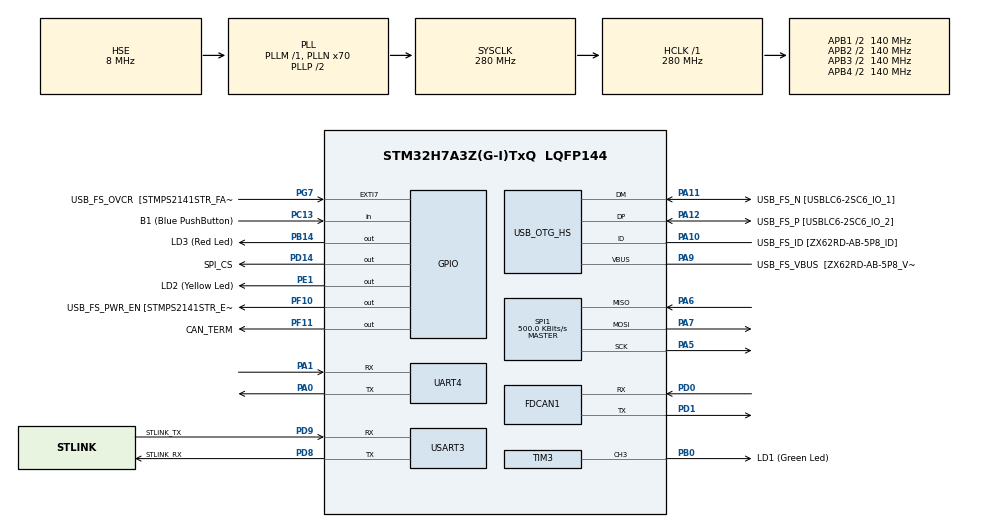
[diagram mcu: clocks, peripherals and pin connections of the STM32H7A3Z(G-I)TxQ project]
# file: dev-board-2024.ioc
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FDCAN1.AutoRetransmission=ENABLE
FDCAN1.CalculateBaudRateNominal=2000000
FDCAN1.CalculateTimeBitNominal=500
FDCAN1.CalculateTimeQuantumNominal=31.25
FDCAN1.DataPrescaler=1
FDCAN1.DataSyncJumpWidth=3
FDCAN1.DataTimeSeg1=13
FDCAN1.DataTimeSeg2=2
FDCAN1.Mode=FDCAN_MODE_NORMAL
FDCAN1.NominalPrescaler=4
FDCAN1.NominalSyncJumpWidth=3
FDCAN1.NominalTimeSeg1=13
FDCAN1.NominalTimeSeg2=2
FDCAN1.RxBufferSize=FDCAN_DATA_BYTES_8
FDCAN1.RxBuffersNbr=32
FDCAN1.RxFifo0ElmtSize=FDCAN_DATA_BYTES_8
FDCAN1.RxFifo0ElmtsNbr=32
FDCAN1.RxFifo1ElmtSize=FDCAN_DATA_BYTES_8
FDCAN1.RxFifo1ElmtsNbr=0
FDCAN1.StdFiltersNbr=1
FDCAN1.TxElmtSize=FDCAN_DATA_BYTES_32
FDCAN1.TxFifoQueueElmtsNbr=1
Mcu.Family=STM32H7
Mcu.Name=STM32H7A3Z(G-I)TxQ
Mcu.Package=LQFP144
NVIC.FDCAN1_IT0_IRQn=true\:0\:0\:false\:false\:true\:true\:true\:true
NVIC.FDCAN1_IT1_IRQn=true\:0\:0\:false\:false\:true\:true\:true\:true
NVIC.PriorityGroup=NVIC_PRIORITYGROUP_4
NVIC.UART4_IRQn=true\:0\:0\:false\:false\:true\:true\:true\:true
PA0.Mode=Asynchronous
PA0.Signal=UART4_TX
PA1.Mode=Asynchronous
PA1.Signal=UART4_RX
PA10.GPIO_Label=USB_FS_ID [ZX62RD-AB-5P8_ID]
PA10.Mode=OTG/Dual-Role-Device-FS
PA10.Signal=USB_OTG_HS_ID
PA11.GPIO_Label=USB_FS_N [USBLC6-2SC6_IO_1]
PA11.Mode=OTG/Dual-Role-Device-FS
PA11.Signal=USB_OTG_HS_DM
PA12.GPIO_Label=USB_FS_P [USBLC6-2SC6_IO_2]
PA12.Mode=OTG/Dual-Role-Device-FS
PA12.Signal=USB_OTG_HS_DP
PA13.Mode=Serial_Wire
PA13.Signal=DEBUG_JTMS-SWDIO
PA14.Mode=Serial_Wire
PA14.Signal=DEBUG_JTCK-SWCLK
PA5.GPIO_PuPd=GPIO_PULLUP
PA5.Mode=Full_Duplex_Master
PA5.Signal=SPI1_SCK
PA6.GPIO_PuPd=GPIO_PULLUP
PA6.Mode=Full_Duplex_Master
PA6.Signal=SPI1_MISO
PA7.GPIO_PuPd=GPIO_PULLUP
PA7.Mode=Full_Duplex_Master
PA7.Signal=SPI1_MOSI
PA9.GPIO_Label=USB_FS_VBUS  [ZX62RD-AB-5P8_VBUS]
PA9.Mode=Activate_VBUS_FS
PA9.Signal=USB_OTG_HS_VBUS
PB0.GPIO_Label=LD1 (Green Led)
PB0.Signal=S_TIM3_CH3
PB14.GPIO_Label=LD3 (Red Led)
PB14.Signal=GPIO_Output
PC13.GPIO_Label=B1 (Blue PushButton)
PC13.Signal=GPIO_Input
PC14-OSC32_IN.GPIO_Label=OSC32_IN
PC14-OSC32_IN.Mode=LSE-External-Oscillator
PC14-OSC32_IN.Signal=RCC_OSC32_IN
PC15-OSC32_OUT.GPIO_Label=OSC32_OUT
PC15-OSC32_OUT.Mode=LSE-External-Oscillator
PC15-OSC32_OUT.Signal=RCC_OSC32_OUT
PD0.Mode=FDCAN_Activate
PD0.Signal=FDCAN1_RX
PD1.Mode=FDCAN_Activate
PD1.Signal=FDCAN1_TX
PD14.GPIO_Label=SPI_CS
PD14.GPIO_Speed=GPIO_SPEED_FREQ_VERY_HIGH
PD14.PinState=GPIO_PIN_SET
PD14.Signal=GPIO_Output
PD8.GPIO_Label=STLINK_RX
PD8.Mode=Asynchronous
PD8.Signal=USART3_TX
PD9.GPIO_Label=STLINK_TX
PD9.Mode=Asynchronous
PD9.Signal=USART3_RX
PE1.GPIO_Label=LD2 (Yellow Led)
PE1.Signal=GPIO_Output
PF10.GPIO_Label=USB_FS_PWR_EN [STMPS2141STR_EN]
PF10.Signal=GPIO_Output
PF11.GPIO_Label=CAN_TERM
PF11.Signal=GPIO_Output
PG7.GPIO_Label=USB_FS_OVCR  [STMPS2141STR_FAULT]
PG7.Signal=GPXTI7
PH0-OSC_IN.GPIO_Label=PH0-MCU
PH0-OSC_IN.Mode=HSE-External-Clock-Source
PH0-OSC_IN.Signal=RCC_OSC_IN
ProjectManager.HeapSize=0x200
ProjectManager.StackSize=0x400
ProjectManager.TargetToolchain=STM32CubeIDE
RCC.ADCFreq_Value=2000000
RCC.APB1Freq_Value=140000000
RCC.APB2Freq_Value=140000000
RCC.APB3Freq_Value=140000000
RCC.APB4Freq_Value=140000000
RCC.CDPPRE=RCC_APB3_DIV2
RCC.CDPPRE1=RCC_APB1_DIV2
RCC.CDPPRE2=RCC_APB2_DIV2
RCC.CortexFreq_Value=280000000
RCC.DIVM1=1
RCC.DIVM2=1
RCC.DIVM3=1
RCC.DIVN1=70
RCC.DIVN2=16
RCC.DIVN3=24
RCC.DIVP2=64
RCC.DIVQ2=1
RCC.FDCANCLockSelection=RCC_FDCANCLKSOURCE_PLL2
RCC.HCLKFreq_Value=280000000
RCC.HSE_VALUE=8000000
RCC.PLL2FRACN=0
RCC.PLLFRACN=0
RCC.PLLSourceVirtual=RCC_PLLSOURCE_HSE
RCC.SPI123CLockSelection=RCC_SPI123CLKSOURCE_PLL2
RCC.SRDPPRE=RCC_APB4_DIV2
RCC.SYSCLKFreq_VALUE=280000000
RCC.SYSCLKSource=RCC_SYSCLKSOURCE_PLLCLK
RCC.SupplySource=PWR_DIRECT_SMPS_SUPPLY
RCC.USBCLockSelection=RCC_USBCLKSOURCE_HSI48
RCC.USBFreq_Value=48000000
SH.S_TIM3_CH3.0=TIM3_CH3,PWM Generation3 CH3
SPI1.BaudRatePrescaler=SPI_BAUDRATEPRESCALER_4
SPI1.CLKPhase=SPI_PHASE_2EDGE
SPI1.CLKPolarity=SPI_POLARITY_HIGH
SPI1.CRCCalculation=SPI_CRCCALCULATION_DISABLE
SPI1.CalculateBaudRate=500.0 KBits/s
SPI1.DataSize=SPI_DATASIZE_8BIT
SPI1.Direction=SPI_DIRECTION_2LINES
SPI1.Mode=SPI_MODE_MASTER
SPI1.VirtualType=VM_MASTER
TIM3.Channel-PWM\ Generation3\ CH3=TIM_CHANNEL_3
TIM3.OC3Preload_PWM=DISABLE
TIM3.OCFastMode_PWM-PWM\ Generation3\ CH3=TIM_OCFAST_DISABLE
TIM3.OCMode_PWM-PWM\ Generation3\ CH3=TIM_OCMODE_PWM1
USART3.VirtualMode-Asynchronous=VM_ASYNC
VP_TIM3_VS_ClockSourceINT.Mode=Internal
board=NUCLEO-H7A3ZI-Q

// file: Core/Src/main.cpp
/* USER CODE BEGIN Header */
/**
  ******************************************************************************
  * @file           : main.c
  * @brief          : Main program body
  ******************************************************************************
  * @attention
  *
  * Copyright (c) 2023 STMicroelectronics.
  * All rights reserved.
  *
  * This software is licensed under terms that can be found in the LICENSE file
  * in the root directory of this software component.
  * If no LICENSE file comes with this software, it is provided AS-IS.
  *
  ******************************************************************************
  */
/* USER CODE END Header */
#include <cstring>
#include <cstdio>
#include "main.h"
#include "fdcan.h"
#include "spi.h"
#include "tim.h"
#include "usart.h"
#include "usb_otg.h"
#include "gpio.h"

/* USER CODE BEGIN Includes */
#include "clock.h"
#include "ltc6813.h"
#include "adbms.h"
/* USER CODE END Includes */

void SystemClock_Config(void);
void PeriphCommonClock_Config(void);

/* USER CODE BEGIN 0 */
float voltages[18];
cell_asic ltcChip;
uint8_t error;
/* USER CODE END 0 */

int main(void)
{

  /* MCU Configuration--------------------------------------------------------*/

  /* Reset of all peripherals, Initializes the Flash interface and the Systick. */
  HAL_Init();

  /* Configure the system clock */
  SystemClock_Config();

/* Configure the peripherals common clocks */
  PeriphCommonClock_Config();

  /* Initialize all configured peripherals */
  MX_GPIO_Init();
  MX_USB_OTG_HS_USB_Init();
  MX_FDCAN1_Init();
  MX_USART3_UART_Init();
  MX_UART4_Init();
  MX_TIM3_Init();
  MX_SPI1_Init();
  /* USER CODE BEGIN 2 */
  clock_init();

  /* USER CODE END 2 */

  /* Infinite loop */
  while (1) {

    /* USER CODE BEGIN 3 */
    /* USER CODE BEGIN 3 */

    /*
//    cmd = 0b01101100010; // ADCV - poll command so probably not ideal
//    cmd = 0b00000010010; // RDSTATB - status register group B

    cmd = 0b10011101000; // ADSTAT - do status register measurements (fast mode, all)
    error = adbms_simpleCommand(cmd);
    if(error) {
      Error_Handler();
    }
    HAL_Delay(2); // super safe delay

    cmd = 0b00000010000; // RDSTATA - status register group A
    error = adbms_readCommand(cmd, buffer);
    bool anything = false;
    for(int i = 0; i < 6; i++) {
      if(buffer[i] != 0xFF) {
        anything = true;
        break;
      }
    }
    if((!error) && anything) {
      led_green(1.0f);
    } else {
      led_red(true);
    }
    HAL_Delay(2);
*/

    ltcChip = {};
    ltcChip.ic_reg.num_cv_reg = 6;
    memset(voltages, 0, 18 * sizeof(float));

    uint16_t data_buf[255] = { 0 };

//    ltc6813_adcv(MD_7KHZ_3KHZ, DCP_ENABLED, CELL_CH_ALL);
//    error = ltc6813_rdcv(0, 1, &ltcChip);

      ltc6813_cmd_voltage_read(0, data_buf);

    volatile float totalVoltage = 0;
    for(int i = 0; i < 18; i++) {
      voltages[i] = static_cast<float>(ltcChip.cells.c_codes[i]) * 0.0001f;
      totalVoltage += voltages[i];
    }

    if(error && !(totalVoltage > 50.0f && totalVoltage < 70.0f)) {
      led_yellow(true);
      led_green(0.0f);
      led_red(true);
    } else {
      led_red(false);
      led_yellow(false);
      led_green(1.0f);
    }

    HAL_Delay(2);

//    float deltaTime = clock_getDeltaTime();
  }
  /* USER CODE END 3 */
}

void SystemClock_Config(void)
{
  RCC_OscInitTypeDef RCC_OscInitStruct = {0};
  RCC_ClkInitTypeDef RCC_ClkInitStruct = {0};

  /*AXI clock gating */
  RCC->CKGAENR = 0xFFFFFFFF;

  /** Supply configuration update enable
  */
  HAL_PWREx_ConfigSupply(PWR_DIRECT_SMPS_SUPPLY);

  /** Configure the main internal regulator output voltage
  */
  __HAL_PWR_VOLTAGESCALING_CONFIG(PWR_REGULATOR_VOLTAGE_SCALE0);

  while(!__HAL_PWR_GET_FLAG(PWR_FLAG_VOSRDY)) {}

  /** Initializes the RCC Oscillators according to the specified parameters
  * in the RCC_OscInitTypeDef structure.
  */
  RCC_OscInitStruct.OscillatorType = RCC_OSCILLATORTYPE_HSI48|RCC_OSCILLATORTYPE_HSE;
  RCC_OscInitStruct.HSEState = RCC_HSE_BYPASS;
  RCC_OscInitStruct.HSI48State = RCC_HSI48_ON;
  RCC_OscInitStruct.PLL.PLLState = RCC_PLL_ON;
  RCC_OscInitStruct.PLL.PLLSource = RCC_PLLSOURCE_HSE;
  RCC_OscInitStruct.PLL.PLLM = 1;
  RCC_OscInitStruct.PLL.PLLN = 70;
  RCC_OscInitStruct.PLL.PLLP = 2;
  RCC_OscInitStruct.PLL.PLLQ = 2;
  RCC_OscInitStruct.PLL.PLLR = 2;
  RCC_OscInitStruct.PLL.PLLRGE = RCC_PLL1VCIRANGE_3;
  RCC_OscInitStruct.PLL.PLLVCOSEL = RCC_PLL1VCOWIDE;
  RCC_OscInitStruct.PLL.PLLFRACN = 0;
  if (HAL_RCC_OscConfig(&RCC_OscInitStruct) != HAL_OK)
  {
    Error_Handler();
  }

  /** Initializes the CPU, AHB and APB buses clocks
  */
  RCC_ClkInitStruct.ClockType = RCC_CLOCKTYPE_HCLK|RCC_CLOCKTYPE_SYSCLK
                              |RCC_CLOCKTYPE_PCLK1|RCC_CLOCKTYPE_PCLK2
                              |RCC_CLOCKTYPE_D3PCLK1|RCC_CLOCKTYPE_D1PCLK1;
  RCC_ClkInitStruct.SYSCLKSource = RCC_SYSCLKSOURCE_PLLCLK;
  RCC_ClkInitStruct.SYSCLKDivider = RCC_SYSCLK_DIV1;
  RCC_ClkInitStruct.AHBCLKDivider = RCC_HCLK_DIV1;
  RCC_ClkInitStruct.APB3CLKDivider = RCC_APB3_DIV2;
  RCC_ClkInitStruct.APB1CLKDivider = RCC_APB1_DIV2;
  RCC_ClkInitStruct.APB2CLKDivider = RCC_APB2_DIV2;
  RCC_ClkInitStruct.APB4CLKDivider = RCC_APB4_DIV2;

  if (HAL_RCC_ClockConfig(&RCC_ClkInitStruct, FLASH_LATENCY_6) != HAL_OK)
  {
    Error_Handler();
  }
}

void PeriphCommonClock_Config(void)
{
  RCC_PeriphCLKInitTypeDef PeriphClkInitStruct = {0};

  /** Initializes the peripherals clock
  */
  PeriphClkInitStruct.PeriphClockSelection = RCC_PERIPHCLK_SPI1|RCC_PERIPHCLK_FDCAN;
  PeriphClkInitStruct.PLL2.PLL2M = 1;
  PeriphClkInitStruct.PLL2.PLL2N = 16;
  PeriphClkInitStruct.PLL2.PLL2P = 64;
  PeriphClkInitStruct.PLL2.PLL2Q = 1;
  PeriphClkInitStruct.PLL2.PLL2R = 2;
  PeriphClkInitStruct.PLL2.PLL2RGE = RCC_PLL2VCIRANGE_3;
  PeriphClkInitStruct.PLL2.PLL2VCOSEL = RCC_PLL2VCOWIDE;
  PeriphClkInitStruct.PLL2.PLL2FRACN = 0;
  PeriphClkInitStruct.Spi123ClockSelection = RCC_SPI123CLKSOURCE_PLL2;
  PeriphClkInitStruct.FdcanClockSelection = RCC_FDCANCLKSOURCE_PLL2;
  if (HAL_RCCEx_PeriphCLKConfig(&PeriphClkInitStruct) != HAL_OK)
  {
    Error_Handler();
  }
}

void Error_Handler(void)
{
  /* USER CODE BEGIN Error_Handler_Debug */
  /* User can add his own implementation to report the HAL error return state */
  __disable_irq();
  while (1) {
    //Write to Red LED
    HAL_GPIO_WritePin(LD3_GPIO_Port, LD3_Pin, (GPIO_PinState) false);
    for (volatile int i = 0; i < 5000000; i++);
    HAL_GPIO_WritePin(LD3_GPIO_Port, LD3_Pin, (GPIO_PinState) true);
    for (volatile int i = 0; i < 5000000; i++);
  }
  /* USER CODE END Error_Handler_Debug */
}
